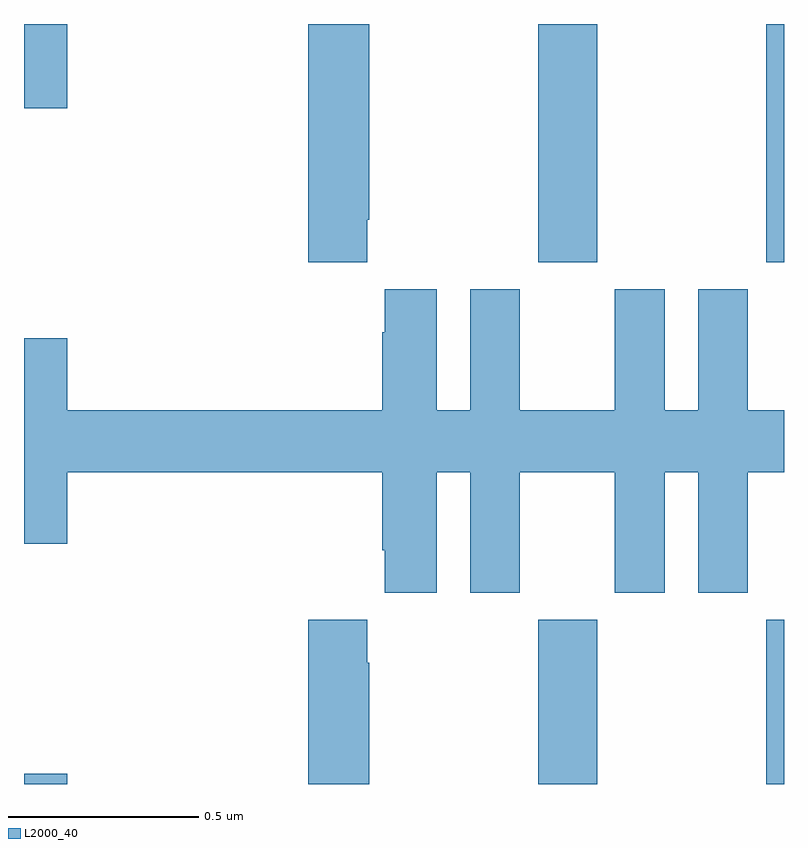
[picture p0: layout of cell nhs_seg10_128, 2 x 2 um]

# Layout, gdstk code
import gdstk
lib = gdstk.Library(unit=1e-6, precision=1e-09)
def R(c, l, rs):  # rectangles x0, y0, x1, y1
    for r in rs: c.add(gdstk.rectangle(r[:2], r[2:], *l))
def P(c, l, *ps):  # polygons
    for p in ps: c.add(gdstk.Polygon(p, *l))
L2000_40 = (2000, 40)

nhs_seg10_128 = lib.new_cell('nhs_seg10_128')
R(nhs_seg10_128, L2000_40, [(112,1295.5,112.114,1295.527), (113.353,1295.5,113.508,1295.932), (113.953,1295.5,114,1295.932), (113.353,1296.873,113.508,1297.5), (113.953,1296.873,114,1297.5), (112,1297.278,112.114,1297.5)])
P(nhs_seg10_128, L2000_40, [(112.903,1296.985),(112.908,1296.985),(112.908,1297.5),(112.748,1297.5),(112.748,1296.873),(112.903,1296.873)],
  [(113.086,1296.32),(113.174,1296.32),(113.174,1296.003),(113.305,1296.003),(113.305,1296.32),(113.555,1296.32),(113.555,1296.003),(113.686,1296.003),(113.686,1296.32),(113.774,1296.32),(113.774,1296.003),(113.905,1296.003),(113.905,1296.32),(114,1296.32),(114,1296.484),(113.905,1296.484),(113.905,1296.802),(113.774,1296.802),(113.774,1296.484),(113.686,1296.484),(113.686,1296.802),(113.555,1296.802),(113.555,1296.484),(113.305,1296.484),(113.305,1296.802),(113.174,1296.802),(113.174,1296.484),(113.086,1296.484),(113.086,1296.802),(112.949,1296.802),(112.949,1296.689),(112.943,1296.689),(112.943,1296.484),(112.114,1296.484),(112.114,1296.673),(112,1296.673),(112,1296.132),(112.114,1296.132),(112.114,1296.32),(112.943,1296.32),(112.943,1296.115),(112.949,1296.115),(112.949,1296.003),(113.086,1296.003)],
  [(112.908,1295.819),(112.903,1295.819),(112.903,1295.932),(112.748,1295.932),(112.748,1295.5),(112.908,1295.5)])

lib.write_gds('nhs_seg10_128.gds')
